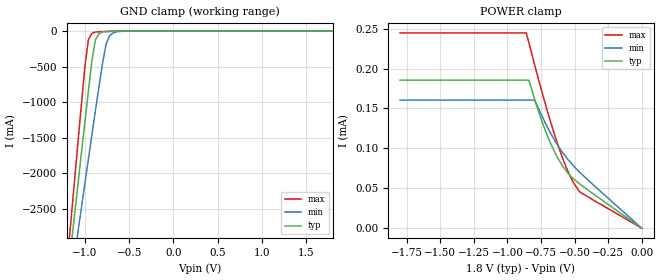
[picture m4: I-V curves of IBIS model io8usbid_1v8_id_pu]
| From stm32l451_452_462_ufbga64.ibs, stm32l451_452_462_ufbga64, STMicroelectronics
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|   Model io8usbid_1v8_id_pu
[Model]  io8usbid_1v8_id_pu
Model_type Input
Polarity   Non-Inverting
Vinl =   0.540000V
Vinh =   1.260000V
C_comp   2.031500pF   1.968500pF   2.084900pF
[Temperature Range]   25.000000   0.125000k   -40.000000
[Pullup Reference]   1.800000V   1.600000V   2.000000V
[Pulldown Reference]   0.0V   0.0V   0.0V
[POWER Clamp Reference]   1.800000V   1.600000V   2.000000V
[GND Clamp Reference]   0.0V   0.0V   0.0V
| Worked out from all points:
|   GND clamp passes 1 mA (typ) near -0.60 V on its own axis
[GND_clamp]
|Voltage   I(typ)   I(min)   I(max)
-1.8V     -9.895A    -9.296A    -9.457A
-1.2V     -3.533A    -3.902A    -3.274A
-1.16V    -3.082A    -3.55A     -2.716A
-1.12V    -2.631A    -3.198A    -2.159A
-1.08V    -2.182A    -2.848A    -1.604A
-1V       -1.289A    -2.15A     -512mA
-960mV    -849.4mA   -1.803A    -123.8mA
-920mV    -422.4mA   -1.459A    -30.79mA
-880mV    -123.7mA   -1.118A    -13.63mA
-760mV    -6.32mA    -185mA     -5.692mA
-680mV    -2.569mA   -25.43mA   -2.907mA
1.8V      0A         0A         0A
[POWER_clamp]
|Voltage   I(typ)   I(min)   I(max)
-1.8V     185.5uA    160.5uA    244.8uA
-860mV    185.5uA    160.5uA    244.8uA
-840mV    185.5uA    160.5uA    232.3uA
-800mV    163.2uA    160.5uA    206.4uA
-720mV    123.4uA    132.6uA    157.1uA
-660mV    99.54uA    113.5uA    123.2uA
-620mV    86.5uA     102.5uA    102.5uA
-580mV    75.76uA    92.77uA    83.86uA
-540mV    67.29uA    84.27uA    67.7uA
-500mV    60.7uA     76.74uA    54.84uA
-460mV    55.2uA     69.91uA    45.31uA
0V        0A         0A         0A
